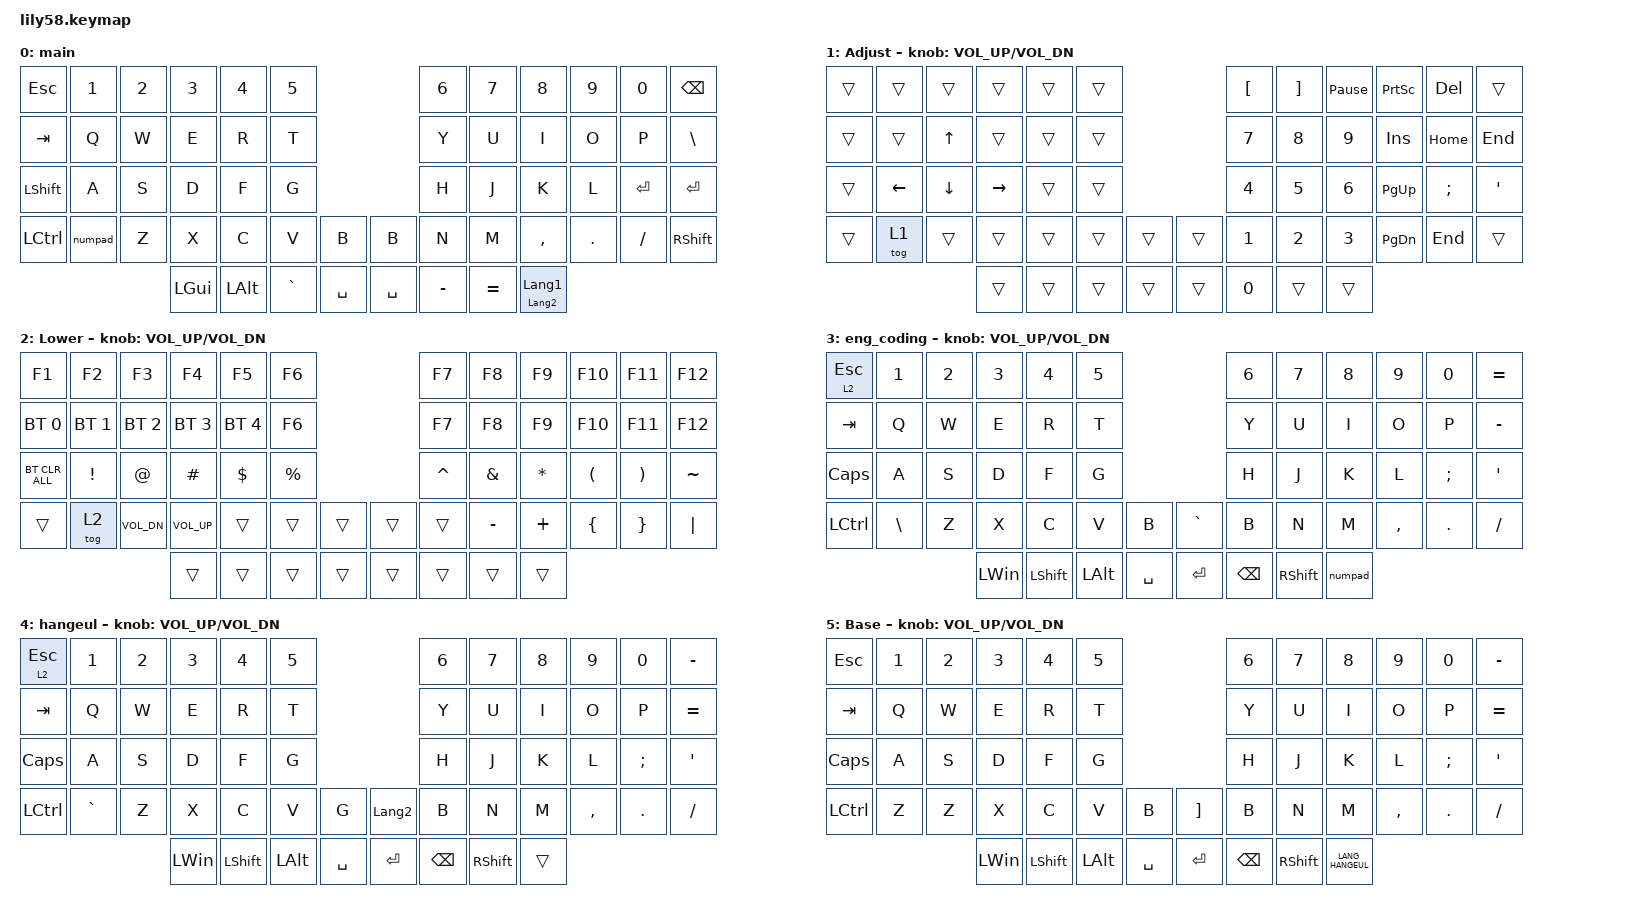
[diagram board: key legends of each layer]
/*
 * Copyright (c) 2020 The ZMK Contributors
 *
 * SPDX-License-Identifier: MIT
 */

#include <behaviors.dtsi>
#include <dt-bindings/zmk/bt.h>
#include <dt-bindings/zmk/keys.h>

#define default_layer 0
#define lower_layer 1
#define raise_layer 2
#define adjust_layer 3
#define extra_layer 4

/ {
    combos {
        compatible = "zmk,combos";

        l {
            bindings = <&kp LEFT_BRACKET>;
            key-positions = <42 52>;
            layers = <3>;
        };

        r {
            bindings = <&kp RIGHT_BRACKET>;
            key-positions = <43 55>;
            layers = <3>;
        };

        lm {
            bindings = <&kp LEFT_BRACE>;
            key-positions = <51 42>;
        };

        rm {
            bindings = <&kp RIGHT_BRACE>;
            key-positions = <56 43>;
        };

        ls {
            bindings = <&kp LEFT_PARENTHESIS>;
            key-positions = <50 42>;
        };

        rs {
            bindings = <&kp RIGHT_PARENTHESIS>;
            key-positions = <43 55>;
        };
    };

    behaviors {
        numpad: numpad {
            compatible = "zmk,behavior-tap-dance";
            label = "NUMPAD";
            #binding-cells = <0>;
            bindings = <&tog 1>, <&tog 2>;

            tapping-term-ms = <300>;
        };
    };

    keymap {
        compatible = "zmk,keymap";

        main {
            bindings = <
&kp ESC    &kp N1   &kp N2  &kp N3    &kp N4    &kp N5                             &kp N6     &kp N7     &kp N8                     &kp N9   &kp N0     &kp BSPC
&kp TAB    &kp Q    &kp W   &kp E     &kp R     &kp T                              &kp Y      &kp U      &kp I                      &kp O    &kp P      &kp BSLH
&kp LSHFT  &kp A    &kp S   &kp D     &kp F     &kp G                              &kp H      &kp J      &kp K                      &kp L    &kp ENTER  &kp ENTER
&kp LCTRL  &numpad  &kp Z   &kp X     &kp C     &kp V      &kp B        &kp B      &kp N      &kp M      &kp COMMA                  &kp DOT  &kp FSLH   &kp RSHFT
                            &kp LGUI  &kp LALT  &kp GRAVE  &kp SPACE    &kp SPACE  &kp MINUS  &kp EQUAL  &mt LANGUAGE_2 LANGUAGE_1
            >;
        };

        adjust_layer {
            display-name = "Adjust";

            // ------------------------------------------------------------------------------------------------------------
            // |       |     |     |      |      |      |                   |      |       |       |      |       |       |
            // |   `   |  1  |  2  |  3   |  4   |  5   |                   |  6   |   7   |   8   |  9   |   0   |       |
            // |   F1  |  F2 |  F3 |  F4  |  F5  |  F6  |                   |      |   <-  |   v   |  ^   |  ->   |       |
            // |   F7  |  F8 |  F9 |  F10 |  F11 |  F12 |        |  |       |  +   |   -   |   =   |  [   |   ]   |   \   |
            //                     |      |      |      |        |  |       |      |       |       |

            bindings = <
&trans  &trans    &trans    &trans     &trans  &trans                    &kp LEFT_BRACKET  &kp RIGHT_BRACKET  &kp PAUSE_BREAK  &kp PRINTSCREEN  &kp DEL   &trans
&trans  &trans    &kp UP    &trans     &trans  &trans                    &kp N7            &kp N8             &kp N9           &kp INS          &kp HOME  &kp END
&trans  &kp LEFT  &kp DOWN  &kp RIGHT  &trans  &trans                    &kp N4            &kp N5             &kp N6           &kp PAGE_UP      &kp SEMI  &kp APOS
&trans  &tog 1    &trans    &trans     &trans  &trans  &trans    &trans  &kp N1            &kp N2             &kp N3           &kp PAGE_DOWN    &kp END   &trans
                            &trans     &trans  &trans  &trans    &trans  &kp N0            &trans             &trans
            >;

            sensor-bindings = <&inc_dec_kp C_VOL_UP C_VOL_DN>;
        };

        lower_layer {
            display-name = "Lower";

            // ------------------------------------------------------------------------------------------------------------
            // | BTCLR | BT1 | BT2 |  BT3 |  BT4 |  BT5 |                   |      |       |       |      |       |       |
            // |  F1   |  F2 |  F3 |  F4  |  F5  |  F6  |                   |  F7  |  F8   |  F9   |  F10 |  F11  |  F12  |
            // |   `   |  !  |  @  |  #   |  $   |  %   |                   |  ^   |  &    |  *    |  (   |   )   |   ~   |
            // |       |     |     |      |      |      |        |  |       |      |  _    |  +    |  {   |   }   |  "|"  |
            //                     |      |      |      |        |  |       |      |       |       |

            bindings = <
&kp F1          &kp F2        &kp F3        &kp F4           &kp F5        &kp F6                       &kp F7     &kp F8     &kp F9     &kp F10   &kp F11   &kp F12
&bt BT_SEL 0    &bt BT_SEL 1  &bt BT_SEL 2  &bt BT_SEL 3     &bt BT_SEL 4  &kp F6                       &kp F7     &kp F8     &kp F9     &kp F10   &kp F11   &kp F12
&bt BT_CLR_ALL  &kp EXCL      &kp AT        &kp HASH         &kp DOLLAR    &kp PRCNT                    &kp CARET  &kp AMPS   &kp ASTRK  &kp LPAR  &kp RPAR  &kp TILDE
&trans          &tog 2        &kp C_VOL_DN  &kp C_VOLUME_UP  &trans        &trans     &trans    &trans  &trans     &kp MINUS  &kp PLUS   &kp LBRC  &kp RBRC  &kp PIPE
                                            &trans           &trans        &trans     &trans    &trans  &trans     &trans     &trans
            >;

            sensor-bindings = <&inc_dec_kp C_VOL_UP C_VOL_DN>;
        };

        eng_coding {
            display-name = "eng_coding";
            bindings = <
&lt 2 ESC  &kp N1    &kp N2  &kp N3        &kp N4     &kp N5                            &kp N6         &kp N7     &kp N8   &kp N9     &kp N0    &kp EQUAL
&kp TAB    &kp Q     &kp W   &kp E         &kp R      &kp T                             &kp Y          &kp U      &kp I    &kp O      &kp P     &kp MINUS
&kp CAPS   &kp A     &kp S   &kp D         &kp F      &kp G                             &kp H          &kp J      &kp K    &kp L      &kp SEMI  &kp SQT
&kp LCTRL  &kp BSLH  &kp Z   &kp X         &kp C      &kp V     &kp B        &kp GRAVE  &kp B          &kp N      &kp M    &kp COMMA  &kp DOT   &kp SLASH
                             &kp LEFT_WIN  &kp LSHFT  &kp LALT  &kp SPACE    &kp RET    &kp BACKSPACE  &kp RSHFT  &numpad
            >;

            sensor-bindings = <&inc_dec_kp C_VOL_UP C_VOL_DN>;
            label = "eng_coding";
        };

        hangeul {
            display-name = "hangeul";
            bindings = <
&lt 2 ESC  &kp N1     &kp N2  &kp N3        &kp N4     &kp N5                                 &kp N6         &kp N7     &kp N8  &kp N9     &kp N0    &kp MINUS
&kp TAB    &kp Q      &kp W   &kp E         &kp R      &kp T                                  &kp Y          &kp U      &kp I   &kp O      &kp P     &kp EQUAL
&kp CAPS   &kp A      &kp S   &kp D         &kp F      &kp G                                  &kp H          &kp J      &kp K   &kp L      &kp SEMI  &kp SQT
&kp LCTRL  &kp GRAVE  &kp Z   &kp X         &kp C      &kp V     &kp G        &kp LANGUAGE_2  &kp B          &kp N      &kp M   &kp COMMA  &kp DOT   &kp SLASH
                              &kp LEFT_WIN  &kp LSHFT  &kp LALT  &kp SPACE    &kp RET         &kp BACKSPACE  &kp RSHFT  &trans
            >;

            sensor-bindings = <&inc_dec_kp C_VOL_UP C_VOL_DN>;
        };

        std {
            display-name = "Base";
            bindings = <
&kp ESC    &kp N1  &kp N2  &kp N3        &kp N4     &kp N5                           &kp N6         &kp N7     &kp N8            &kp N9     &kp N0    &kp MINUS
&kp TAB    &kp Q   &kp W   &kp E         &kp R      &kp T                            &kp Y          &kp U      &kp I             &kp O      &kp P     &kp EQUAL
&kp CAPS   &kp A   &kp S   &kp D         &kp F      &kp G                            &kp H          &kp J      &kp K             &kp L      &kp SEMI  &kp SQT
&kp LCTRL  &kp Z   &kp Z   &kp X         &kp C      &kp V     &kp B        &kp RBKT  &kp B          &kp N      &kp M             &kp COMMA  &kp DOT   &kp SLASH
                           &kp LEFT_WIN  &kp LSHFT  &kp LALT  &kp SPACE    &kp RET   &kp BACKSPACE  &kp RSHFT  &kp LANG_HANGEUL
            >;

            sensor-bindings = <&inc_dec_kp C_VOL_UP C_VOL_DN>;
        };
    };
};
